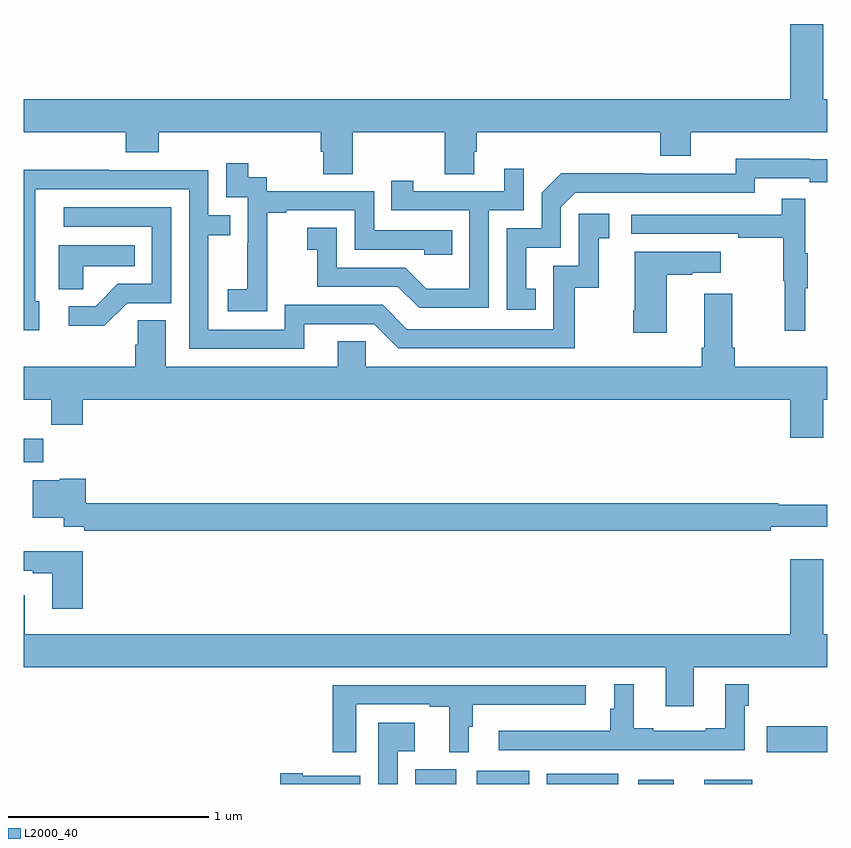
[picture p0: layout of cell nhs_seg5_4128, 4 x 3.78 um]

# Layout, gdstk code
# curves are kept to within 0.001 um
import gdstk
lib = gdstk.Library(unit=1e-6, precision=1e-09)
def R(c, l, rs):  # rectangles x0, y0, x1, y1
    for r in rs: c.add(gdstk.rectangle(r[:2], r[2:], *l))
def P(c, l, *ps):  # polygons
    for p in ps: c.add(gdstk.Polygon(p, *l))
L2000_40 = (2000, 40)

nhs_seg5_4128 = lib.new_cell('nhs_seg5_4128')
R(nhs_seg5_4128, L2000_40, [(354.95,902.799,355.153,902.872), (355.256,902.799,355.516,902.866), (355.604,902.799,355.96,902.851), (356.06,902.799,356.236,902.821), (356.387,902.799,356.626,902.821), (356.7,902.957,357,903.087), (353,904.4,353.096,904.518)])
P(nhs_seg5_4128, L2000_40, [(354.639,906.044),(355.096,906.044),(355.096,905.836),(355.243,905.836),(355.243,905.946),(355.256,905.946),(355.256,906.044),(356.168,906.044),(356.168,905.927),(356.32,905.927),(356.32,906.044),(357,906.044),(357,906.208),(356.98,906.208),(356.98,906.583),(356.816,906.583),(356.816,906.208),(353,906.208),(353,906.044),(353.507,906.044),(353.507,905.945),(353.672,905.945),(353.672,906.044),(354.479,906.044),(354.479,905.946),(354.491,905.946),(354.491,905.836),(354.639,905.836)],
  [(355.55,905.265),(355.501,905.265),(355.501,905.469),(355.674,905.469),(355.674,905.67),(355.746,905.742),(356.64,905.742),(356.64,905.814),(356.912,905.814),(356.912,905.794),(357,905.794),(357,905.91),(356.544,905.911),(356.544,905.838),(356.084,905.838),(356.084,905.84),(355.676,905.84),(355.578,905.742),(355.578,905.565),(355.404,905.565),(355.404,905.16),(355.55,905.16)],
  [(354.213,905.359),(354.212,905.359),(354.212,905.643),(354.307,905.643),(354.307,905.655),(354.648,905.655),(354.648,905.46),(354.993,905.46),(354.993,905.433),(355.133,905.433),(355.133,905.556),(354.744,905.556),(354.744,905.751),(354.21,905.751),(354.21,905.82),(354.118,905.82),(354.118,905.89),(354.009,905.89),(354.009,905.721),(354.114,905.721),(354.114,905.492),(354.113,905.492),(354.113,905.263),(354.015,905.263),(354.015,905.153),(354.213,905.153)],
  [(355.314,905.655),(355.488,905.655),(355.488,905.863),(355.391,905.863),(355.391,905.751),(354.94,905.751),(354.94,905.803),(354.829,905.803),(354.829,905.655),(355.218,905.655),(355.218,905.266),(355.004,905.266),(354.9,905.37),(354.558,905.37),(354.558,905.569),(354.411,905.569),(354.411,905.459),(354.46,905.459),(354.46,905.274),(354.863,905.274),(354.968,905.169),(355.314,905.169)],
  [(354.397,905.088),(354.744,905.088),(354.864,904.968),(355.744,904.968),(355.744,905.271),(355.862,905.271),(355.862,905.517),(355.915,905.517),(355.915,905.638),(355.764,905.638),(355.764,905.379),(355.635,905.379),(355.635,905.064),(354.906,905.064),(354.786,905.184),(354.3,905.184),(354.3,905.061),(353.919,905.061),(353.919,905.53),(354.029,905.53),(354.029,905.631),(353.919,905.631),(353.919,905.856),(353.423,905.856),(353.423,905.858),(353,905.858),(353,905.058),(353.077,905.058),(353.077,905.202),(353.058,905.202),(353.058,905.76),(353.823,905.76),(353.823,904.965),(354.397,904.965)],
  [(356.891,905.267),(356.902,905.267),(356.902,905.441),(356.891,905.441),(356.891,905.713),(356.773,905.713),(356.773,905.634),(356.025,905.634),(356.025,905.538),(356.557,905.538),(356.557,905.518),(356.781,905.518),(356.781,905.304),(356.788,905.304),(356.788,905.055),(356.891,905.055)],
  [(353.514,905.193),(353.733,905.193),(353.733,905.67),(353.199,905.67),(353.199,905.574),(353.637,905.574),(353.637,905.289),(353.468,905.289),(353.357,905.178),(353.223,905.178),(353.223,905.081),(353.401,905.081)],
  [(353.295,905.378),(353.552,905.378),(353.552,905.482),(353.174,905.482),(353.174,905.263),(353.295,905.263)],
  [(356.2,905.335),(356.327,905.335),(356.327,905.345),(356.47,905.345),(356.47,905.449),(356.042,905.449),(356.042,905.158),(356.035,905.158),(356.035,905.046),(356.2,905.046)],
  [(354.563,905.003),(354.563,904.876),(353.707,904.876),(353.707,905.108),(353.568,905.108),(353.568,904.985),(353.555,904.985),(353.555,904.876),(353,904.876),(353,904.712),(353.137,904.712),(353.137,904.588),(353.294,904.588),(353.294,904.712),(356.816,904.712),(356.816,904.524),(356.98,904.524),(356.98,904.712),(357,904.712),(357,904.876),(356.54,904.876),(356.54,904.972),(356.527,904.972),(356.527,905.239),(356.387,905.239),(356.387,904.972),(356.375,904.972),(356.375,904.876),(354.702,904.876),(354.702,905.003)],
  [(356.72,904.079),(357,904.079),(357,904.189),(356.756,904.189),(356.756,904.196),(353.308,904.196),(353.308,904.318),(353.178,904.318),(353.178,904.312),(353.045,904.312),(353.045,904.124),(353.199,904.124),(353.199,904.08),(353.302,904.08),(353.302,904.06),(356.72,904.06)],
  [(353.294,903.958),(353,903.958),(353,903.861),(353.045,903.861),(353.045,903.849),(353.141,903.849),(353.141,903.672),(353.294,903.672)],
  [(356.335,903.38),(357,903.38),(357,903.544),(356.98,903.544),(356.98,903.919),(356.816,903.919),(356.816,903.544),(353.005,903.544),(353.005,903.739),(353,903.739),(353,903.38),(356.195,903.38),(356.195,903.186),(356.335,903.186)],
  [(356.589,903.188),(356.609,903.188),(356.609,903.295),(356.492,903.295),(356.492,903.076),(356.396,903.076),(356.396,903.063),(356.134,903.063),(356.134,903.076),(356.038,903.076),(356.038,903.295),(355.94,903.295),(355.94,903.174),(355.921,903.174),(355.921,903.064),(355.365,903.064),(355.365,902.967),(356.064,902.967),(356.064,902.966),(356.589,902.966)],
  [(354.654,903.195),(355.022,903.195),(355.022,903.183),(355.118,903.183),(355.118,902.958),(355.216,902.958),(355.216,903.084),(355.235,903.084),(355.235,903.194),(355.798,903.194),(355.798,903.291),(354.538,903.291),(354.538,902.958),(354.654,902.958)],
  [(354.861,902.963),(354.946,902.963),(354.946,903.103),(354.765,903.103),(354.765,902.799),(354.861,902.799)],
  [(354.676,902.839),(354.388,902.839),(354.388,902.852),(354.276,902.852),(354.276,902.799),(354.676,902.799)])

lib.write_gds('nhs_seg5_4128.gds')
